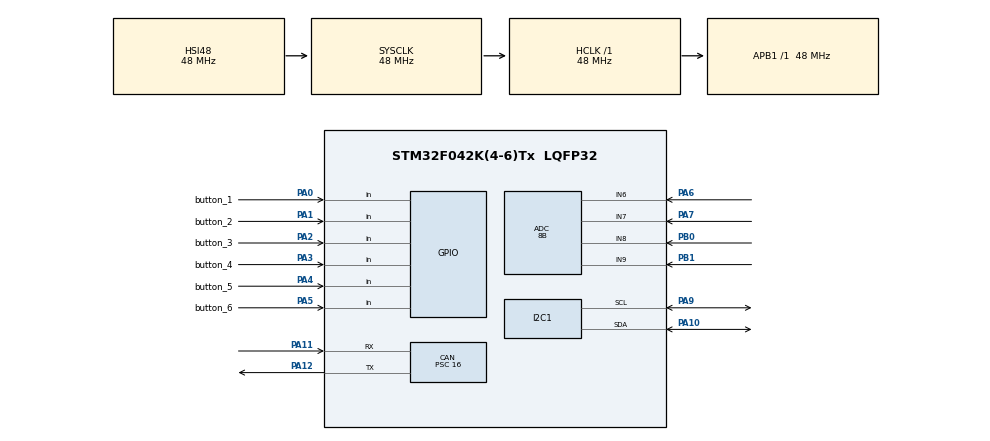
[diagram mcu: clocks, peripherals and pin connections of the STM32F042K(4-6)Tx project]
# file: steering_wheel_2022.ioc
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ADC.ContinuousConvMode=ENABLE
ADC.DMAContinuousRequests=ENABLE
ADC.EOCSelection=ADC_EOC_SEQ_CONV
ADC.Overrun=ADC_OVR_DATA_OVERWRITTEN
ADC.Resolution=ADC_RESOLUTION_8B
ADC.SamplingTime=ADC_SAMPLETIME_239CYCLES_5
CAN.BS1=CAN_BS1_10TQ
CAN.CalculateBaudRate=250000
CAN.CalculateTimeBit=4000
CAN.CalculateTimeQuantum=333.3333333333333
CAN.Prescaler=16
Dma.ADC.0.Direction=DMA_PERIPH_TO_MEMORY
Dma.ADC.0.Instance=DMA1_Channel1
Dma.ADC.0.MemDataAlignment=DMA_MDATAALIGN_HALFWORD
Dma.ADC.0.MemInc=DMA_MINC_ENABLE
Dma.ADC.0.Mode=DMA_CIRCULAR
Dma.ADC.0.PeriphDataAlignment=DMA_PDATAALIGN_HALFWORD
Dma.ADC.0.PeriphInc=DMA_PINC_DISABLE
Dma.ADC.0.Priority=DMA_PRIORITY_LOW
Dma.Request0=ADC
Mcu.Family=STM32F0
Mcu.Name=STM32F042K(4-6)Tx
Mcu.Package=LQFP32
NVIC.DMA1_Channel1_IRQn=true\:0\:0\:true\:false\:true\:false\:true\:true
NVIC.TIM14_IRQn=true\:0\:0\:false\:false\:true\:true\:true\:true
PA0.GPIO_Label=button_1
PA0.Signal=GPIO_Input
PA1.GPIO_Label=button_2
PA1.Signal=GPIO_Input
PA10.Mode=I2C
PA10.Signal=I2C1_SDA
PA11.Mode=CAN_Activate
PA11.Signal=CAN_RX
PA12.Mode=CAN_Activate
PA12.Signal=CAN_TX
PA13.Mode=Serial_Wire
PA13.Signal=SYS_SWDIO
PA14.Mode=Serial_Wire
PA14.Signal=SYS_SWCLK
PA2.GPIO_Label=button_3
PA2.Signal=GPIO_Input
PA3.GPIO_Label=button_4
PA3.Signal=GPIO_Input
PA4.GPIO_Label=button_5
PA4.Signal=GPIO_Input
PA5.GPIO_Label=button_6
PA5.Signal=GPIO_Input
PA6.Mode=IN6
PA6.Signal=ADC_IN6
PA7.Mode=IN7
PA7.Signal=ADC_IN7
PA9.Mode=I2C
PA9.Signal=I2C1_SCL
PB0.Mode=IN8
PB0.Signal=ADC_IN8
PB1.Mode=IN9
PB1.Signal=ADC_IN9
ProjectManager.HeapSize=0x200
ProjectManager.StackSize=0x400
ProjectManager.TargetToolchain=STM32CubeIDE
RCC.AHBFreq_Value=48000000
RCC.APB1Freq_Value=48000000
RCC.APB1TimFreq_Value=48000000
RCC.HCLKFreq_Value=48000000
RCC.SYSCLKFreq_VALUE=48000000
RCC.SYSCLKSource=RCC_SYSCLKSOURCE_HSI48
TIM14.Period=65535
TIM14.Prescaler=73
VP_TIM14_VS_ClockSourceINT.Mode=Enable_Timer
board=custom

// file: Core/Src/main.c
/* USER CODE BEGIN Header */
/**
  ******************************************************************************
  * @file           : main.c
  * @brief          : Main program body
  ******************************************************************************
  * @attention
  *
  * Copyright (c) 2022 STMicroelectronics.
  * All rights reserved.
  *
  * This software is licensed under terms that can be found in the LICENSE file
  * in the root directory of this software component.
  * If no LICENSE file comes with this software, it is provided AS-IS.
  *
  ******************************************************************************
  */
/* USER CODE END Header */
#include "main.h"

ADC_HandleTypeDef hadc;
DMA_HandleTypeDef hdma_adc;

CAN_HandleTypeDef hcan;

I2C_HandleTypeDef hi2c1;

TIM_HandleTypeDef htim14;

void SystemClock_Config(void);
static void MX_GPIO_Init(void);
static void MX_DMA_Init(void);
static void MX_ADC_Init(void);
static void MX_CAN_Init(void);
static void MX_I2C1_Init(void);
static void MX_TIM14_Init(void);
/* USER CODE BEGIN PFP */

uint8_t EightWayRotoryEncoder(uint8_t);

/* USER CODE END PFP */

/* USER CODE BEGIN 0 */

// Setting up can
CAN_TxHeaderTypeDef Tx_header;
uint32_t Tx_mailbox;

/*
 * BYTE 0 	|	Buttons
 * BTYE 1	|	Rotary 1
 * BTYE 2	|	Rotary 2
 * BTYE 3	|	Paddle 1
 * BTYE 4	|	Paddle 2
 * BTYE 5-7	|	RESERVED
 */
uint8_t* can_payload[8];		// RAW CAN payload that will point to all the values
uint8_t post_filter_payload[8];		// CAN payload post filter

/*
 * POS 0	|	Paddle 1
 * POS 4	|	Rotary 1
 * POS 2	|	Paddle 2
 * POS 6	|	Rotary 2
 */
uint8_t adc_data[2 * NUM_ADC_CHANNLES];			// Store all ADC values

/* USER CODE END 0 */

int main(void)
{

  /* MCU Configuration--------------------------------------------------------*/

  /* Reset of all peripherals, Initializes the Flash interface and the Systick. */
  HAL_Init();

  /* Configure the system clock */
  SystemClock_Config();

  /* Initialize all configured peripherals */
  MX_GPIO_Init();
  MX_DMA_Init();
  MX_ADC_Init();
  MX_CAN_Init();
  MX_I2C1_Init();
  MX_TIM14_Init();
  /* USER CODE BEGIN 2 */

  // Start HAL_CAN lines
  HAL_CAN_Start(&hcan);
  HAL_Delay(100);

  // Start CAN IT
  HAL_TIM_Base_Start_IT(&htim14);

  // Calibrate the ADC and set it in DMA mode
//  HAL_ADCEx_Calibration_Start(&hadc);		// Only needed if paddles stop working as intended
  HAL_ADC_Start_DMA(&hadc, adc_data, NUM_ADC_CHANNLES);

  // Sets payload to point to button input REGISTER
  can_payload[0] = &GPIOA->IDR;		// Honestly have no idea if this works and if it dosn't its a quick fix

  // Sets the payload to point at the ADC memory
  can_payload[1] = &adc_data[4];
  can_payload[2] = &adc_data[6];
  can_payload[3] = &adc_data[0];
  can_payload[4] = &adc_data[2];

  // Set up can message header
  Tx_header.IDE = CAN_ID_STD;
  Tx_header.StdId = CAN_MESSAGE_ID;
  Tx_header.RTR = CAN_RTR_DATA;
  Tx_header.DLC = CAN_PAYLOAD_SIZE;

  // Debug var | settings
//  uint8_t buttons;
//  uint8_t adc1, adc2, adc3, adc4;
//
//  CAN_TxHeaderTypeDef   TxHeader;
//  uint8_t               TxData[8];
//  uint32_t              TxMailbox;
//  TxHeader.IDE = CAN_ID_STD;
//  TxHeader.StdId = 0x446;
//  TxHeader.RTR = CAN_RTR_DATA;
//  TxHeader.DLC = 2;
//  TxData[0] = 50;
//  TxData[1] = 0xAA;

  /* USER CODE END 2 */

  /* Infinite loop */
  /* USER CODE BEGIN WHILE */
  while (1)
  {

	  // DEBUG VERIABLES
//	  buttons = *can_payload[0];
//	  adc1 = *can_payload[1];
//	  adc2 = *can_payload[2];
//	  adc3 = *can_payload[3];
//	  adc4 = *can_payload[4];

    /* USER CODE END WHILE */

    /* USER CODE BEGIN 3 */
  }

  // Stops CAN system
  HAL_CAN_Stop(&hcan);

  /* USER CODE END 3 */
}

void SystemClock_Config(void)
{
  RCC_OscInitTypeDef RCC_OscInitStruct = {0};
  RCC_ClkInitTypeDef RCC_ClkInitStruct = {0};
  RCC_PeriphCLKInitTypeDef PeriphClkInit = {0};

  /** Initializes the RCC Oscillators according to the specified parameters
  * in the RCC_OscInitTypeDef structure.
  */
  RCC_OscInitStruct.OscillatorType = RCC_OSCILLATORTYPE_HSI|RCC_OSCILLATORTYPE_HSI14
                              |RCC_OSCILLATORTYPE_HSI48;
  RCC_OscInitStruct.HSIState = RCC_HSI_ON;
  RCC_OscInitStruct.HSI48State = RCC_HSI48_ON;
  RCC_OscInitStruct.HSI14State = RCC_HSI14_ON;
  RCC_OscInitStruct.HSICalibrationValue = RCC_HSICALIBRATION_DEFAULT;
  RCC_OscInitStruct.HSI14CalibrationValue = 16;
  RCC_OscInitStruct.PLL.PLLState = RCC_PLL_NONE;
  if (HAL_RCC_OscConfig(&RCC_OscInitStruct) != HAL_OK)
  {
    Error_Handler();
  }

  /** Initializes the CPU, AHB and APB buses clocks
  */
  RCC_ClkInitStruct.ClockType = RCC_CLOCKTYPE_HCLK|RCC_CLOCKTYPE_SYSCLK
                              |RCC_CLOCKTYPE_PCLK1;
  RCC_ClkInitStruct.SYSCLKSource = RCC_SYSCLKSOURCE_HSI48;
  RCC_ClkInitStruct.AHBCLKDivider = RCC_SYSCLK_DIV1;
  RCC_ClkInitStruct.APB1CLKDivider = RCC_HCLK_DIV1;

  if (HAL_RCC_ClockConfig(&RCC_ClkInitStruct, FLASH_LATENCY_1) != HAL_OK)
  {
    Error_Handler();
  }
  PeriphClkInit.PeriphClockSelection = RCC_PERIPHCLK_I2C1;
  PeriphClkInit.I2c1ClockSelection = RCC_I2C1CLKSOURCE_HSI;
  if (HAL_RCCEx_PeriphCLKConfig(&PeriphClkInit) != HAL_OK)
  {
    Error_Handler();
  }
}

static void MX_ADC_Init(void)
{

  ADC_ChannelConfTypeDef sConfig = {0};

  /** Configure the global features of the ADC (Clock, Resolution, Data Alignment and number of conversion)
  */
  hadc.Instance = ADC1;
  hadc.Init.ClockPrescaler = ADC_CLOCK_ASYNC_DIV1;
  hadc.Init.Resolution = ADC_RESOLUTION_8B;
  hadc.Init.DataAlign = ADC_DATAALIGN_RIGHT;
  hadc.Init.ScanConvMode = ADC_SCAN_DIRECTION_FORWARD;
  hadc.Init.EOCSelection = ADC_EOC_SEQ_CONV;
  hadc.Init.LowPowerAutoWait = DISABLE;
  hadc.Init.LowPowerAutoPowerOff = DISABLE;
  hadc.Init.ContinuousConvMode = ENABLE;
  hadc.Init.DiscontinuousConvMode = DISABLE;
  hadc.Init.ExternalTrigConv = ADC_SOFTWARE_START;
  hadc.Init.ExternalTrigConvEdge = ADC_EXTERNALTRIGCONVEDGE_NONE;
  hadc.Init.DMAContinuousRequests = ENABLE;
  hadc.Init.Overrun = ADC_OVR_DATA_OVERWRITTEN;
  if (HAL_ADC_Init(&hadc) != HAL_OK)
  {
    Error_Handler();
  }

  /** Configure for the selected ADC regular channel to be converted.
  */
  sConfig.Channel = ADC_CHANNEL_6;
  sConfig.Rank = ADC_RANK_CHANNEL_NUMBER;
  sConfig.SamplingTime = ADC_SAMPLETIME_239CYCLES_5;
  if (HAL_ADC_ConfigChannel(&hadc, &sConfig) != HAL_OK)
  {
    Error_Handler();
  }

  /** Configure for the selected ADC regular channel to be converted.
  */
  sConfig.Channel = ADC_CHANNEL_7;
  if (HAL_ADC_ConfigChannel(&hadc, &sConfig) != HAL_OK)
  {
    Error_Handler();
  }

  /** Configure for the selected ADC regular channel to be converted.
  */
  sConfig.Channel = ADC_CHANNEL_8;
  if (HAL_ADC_ConfigChannel(&hadc, &sConfig) != HAL_OK)
  {
    Error_Handler();
  }

  /** Configure for the selected ADC regular channel to be converted.
  */
  sConfig.Channel = ADC_CHANNEL_9;
  if (HAL_ADC_ConfigChannel(&hadc, &sConfig) != HAL_OK)
  {
    Error_Handler();
  }

}

static void MX_CAN_Init(void)
{

  hcan.Instance = CAN;
  hcan.Init.Prescaler = 16;
  hcan.Init.Mode = CAN_MODE_NORMAL;
  hcan.Init.SyncJumpWidth = CAN_SJW_1TQ;
  hcan.Init.TimeSeg1 = CAN_BS1_10TQ;
  hcan.Init.TimeSeg2 = CAN_BS2_1TQ;
  hcan.Init.TimeTriggeredMode = DISABLE;
  hcan.Init.AutoBusOff = DISABLE;
  hcan.Init.AutoWakeUp = DISABLE;
  hcan.Init.AutoRetransmission = DISABLE;
  hcan.Init.ReceiveFifoLocked = DISABLE;
  hcan.Init.TransmitFifoPriority = DISABLE;
  if (HAL_CAN_Init(&hcan) != HAL_OK)
  {
    Error_Handler();
  }

}

static void MX_I2C1_Init(void)
{

  hi2c1.Instance = I2C1;
  hi2c1.Init.Timing = 0x2000090E;
  hi2c1.Init.OwnAddress1 = 0;
  hi2c1.Init.AddressingMode = I2C_ADDRESSINGMODE_7BIT;
  hi2c1.Init.DualAddressMode = I2C_DUALADDRESS_DISABLE;
  hi2c1.Init.OwnAddress2 = 0;
  hi2c1.Init.OwnAddress2Masks = I2C_OA2_NOMASK;
  hi2c1.Init.GeneralCallMode = I2C_GENERALCALL_DISABLE;
  hi2c1.Init.NoStretchMode = I2C_NOSTRETCH_DISABLE;
  if (HAL_I2C_Init(&hi2c1) != HAL_OK)
  {
    Error_Handler();
  }

  /** Configure Analogue filter
  */
  if (HAL_I2CEx_ConfigAnalogFilter(&hi2c1, I2C_ANALOGFILTER_ENABLE) != HAL_OK)
  {
    Error_Handler();
  }

  /** Configure Digital filter
  */
  if (HAL_I2CEx_ConfigDigitalFilter(&hi2c1, 0) != HAL_OK)
  {
    Error_Handler();
  }

}

static void MX_TIM14_Init(void)
{

  htim14.Instance = TIM14;
  htim14.Init.Prescaler = 73;
  htim14.Init.CounterMode = TIM_COUNTERMODE_UP;
  htim14.Init.Period = 65535;
  htim14.Init.ClockDivision = TIM_CLOCKDIVISION_DIV1;
  htim14.Init.AutoReloadPreload = TIM_AUTORELOAD_PRELOAD_DISABLE;
  if (HAL_TIM_Base_Init(&htim14) != HAL_OK)
  {
    Error_Handler();
  }

}

static void MX_DMA_Init(void)
{

  /* DMA controller clock enable */
  __HAL_RCC_DMA1_CLK_ENABLE();

  /* DMA interrupt init */
  /* DMA1_Channel1_IRQn interrupt configuration */
  HAL_NVIC_SetPriority(DMA1_Channel1_IRQn, 0, 0);
  HAL_NVIC_EnableIRQ(DMA1_Channel1_IRQn);

}

static void MX_GPIO_Init(void)
{
  GPIO_InitTypeDef GPIO_InitStruct = {0};

  /* GPIO Ports Clock Enable */
  __HAL_RCC_GPIOA_CLK_ENABLE();
  __HAL_RCC_GPIOB_CLK_ENABLE();

  /*Configure GPIO pins : button_1_Pin button_2_Pin button_3_Pin button_4_Pin
                           button_5_Pin button_6_Pin */
  GPIO_InitStruct.Pin = button_1_Pin|button_2_Pin|button_3_Pin|button_4_Pin
                          |button_5_Pin|button_6_Pin;
  GPIO_InitStruct.Mode = GPIO_MODE_INPUT;
  GPIO_InitStruct.Pull = GPIO_NOPULL;
  HAL_GPIO_Init(GPIOA, &GPIO_InitStruct);

}

/* USER CODE BEGIN 4 */

void HAL_TIM_PeriodElapsedCallback(TIM_HandleTypeDef *htim)
{
  // Check which version of the timer triggered this callback and send can message
  if (htim == &htim14 )
  {
	  post_filter_payload[0] = *can_payload[0];

	  post_filter_payload[1] = EightWayRotoryEncoder(*can_payload[1]);
	  post_filter_payload[2] = EightWayRotoryEncoder(*can_payload[2]);

	  post_filter_payload[3] = *can_payload[3];
	  post_filter_payload[4] = *can_payload[4];

	  HAL_CAN_AddTxMessage(&hcan, &Tx_header, post_filter_payload, &Tx_mailbox);
  }
}

uint8_t EightWayRotoryEncoder(uint8_t payload) {

	if(0x05 <= payload && payload <= 0x20){			// Pos 1
		return 0x01;
	} else if(0x20 <= payload && payload <= 0x40){	// Pos 2
		return 0x02;
	} else if(0x40 <= payload && payload <= 0x60){	// Pos 3
		return 0x04;
	} else if(0x60 <= payload && payload <= 0x80){	// Pos 4
		return 0x08;
	} else if(0x80 <= payload && payload <= 0xA0){	// Pos 5
		return 0x10;
	} else if(0xA0 <= payload && payload <= 0xB0){	// Pos 6
		return 0x20;
	} else if(0xB0 <= payload && payload <= 0xD0){	// Pos 7
		return 0x40;
	} else if(0xD0 <= payload && payload <= 0xFF){	// Pos 8
		return 0x80;
	}

	return 0x00;
}

/* USER CODE END 4 */

void Error_Handler(void)
{
  __disable_irq();
  while (1)
  {
  }
}
